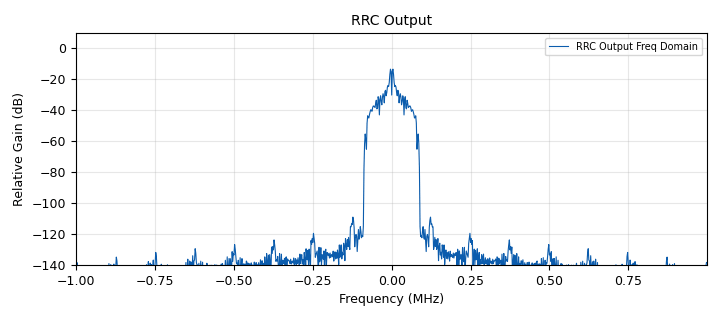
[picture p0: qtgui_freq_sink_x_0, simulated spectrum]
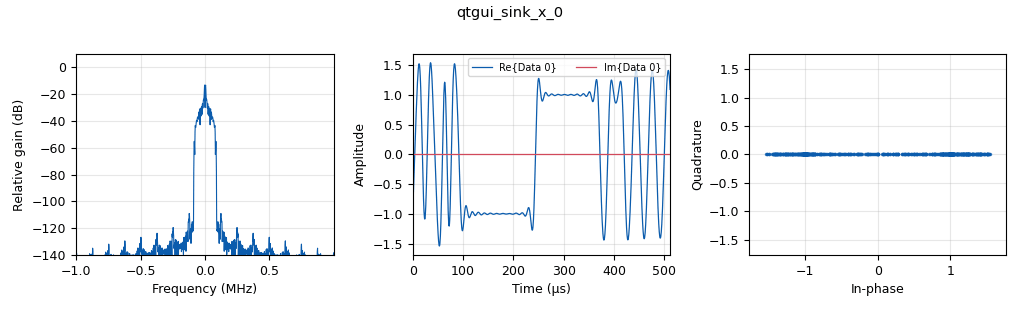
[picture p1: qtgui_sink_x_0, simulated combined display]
options:
  parameters:
    generate_options: qt_gui
    id: BPSK_TX
    output_language: python
    title: BPSK Transmit
  states: {}

blocks:
- name: bpsk_constellation
  id: variable_constellation
  parameters:
    precision: '8'
    type: bpsk
  states: {}
- name: freq
  id: variable
  parameters:
    value: 915e6
  states: {}
- name: samp_rate
  id: variable
  parameters:
    value: int(2e6)
  states: {}
- name: sps
  id: variable
  parameters:
    value: '16'
  states: {}
- name: tx_gain
  id: variable_qtgui_range
  parameters:
    gui_hint: 0,2
    label: tx gain
    min_len: '2'
    rangeType: int
    start: '0'
    step: '11'
    stop: '11'
    value: '0'
    widget: counter
  states: {}
- name: tx_lna
  id: variable_qtgui_range
  parameters:
    gui_hint: 0,1
    label: TX LNA
    min_len: '47'
    rangeType: int
    start: '0'
    step: '1'
    stop: '47'
    value: '32'
  states: {}
- name: analog_random_source_x_0
  id: analog_random_source_x
  parameters:
    max: '255'
    min: '0'
    num_samps: '30'
    repeat: 'True'
    type: byte
  states: {state: disabled}
- name: analog_sig_source_x_0
  id: analog_sig_source_x
  parameters:
    amp: '1'
    freq: '1000'
    offset: '0'
    phase: '0'
    samp_rate: samp_rate
    type: complex
    waveform: analog.GR_COS_WAVE
  states: {state: disabled}
- name: blocks_char_to_float_0
  id: blocks_char_to_float
  parameters:
    scale: '1'
  states: {state: disabled}
- name: blocks_message_strobe_0
  id: blocks_message_strobe
  parameters:
    msg: pmt.intern("TEST")
    period: '1000'
  states: {}
- name: digital_constellation_modulator_0
  id: digital_constellation_modulator
  parameters:
    constellation: bpsk_constellation
    differential: 'True'
    excess_bw: '0.35'
    samples_per_symbol: sps
  states: {}
- name: epy_block_2
  id: epy_block
  parameters:
    _source_code: |
      """
      Embedded Python Blocks:

      Each time this file is saved, GRC will instantiate the first class it finds
      to get ports and parameters of your block. The arguments to __init__  will
      be the parameters. All of them are required to have default values!
      """

      import numpy as np
      from gnuradio import gr
      import pmt


      class blk(gr.sync_block):  # other base classes are basic_block, decim_block, interp_block
          """Embedded Python Block example - a simple multiply const"""

          def __init__(self, preamble=[0xAA,0xAA], syncword=[0x56]):  # only default arguments here
              """arguments to this function show up as parameters in GRC"""
              gr.sync_block.__init__(
                  self,
                  name='Packet Formatter',   # will show up in GRC
                  in_sig= None,
                  out_sig= None
              )
              # if an attribute with the same name as a parameter is found,
              # a callback is registered (properties work, too).
              self.message_port_register_in(pmt.intern('PDU_in'))
              self.message_port_register_out(pmt.intern('PDU_out'))
              self.set_msg_handler(pmt.intern('PDU_in'),self.handle_msg)
              
              self.preamble = np.array(preamble,dtype=np.uint8)
              self.syncword = np.array(syncword,dtype=np.uint8)

          def handle_msg(self, msg):
              #Get msg
              payload = pmt.to_python(msg)
              
              #print(f"Payload: {payload}\n Payload type: {type(payload)}")
              
              payload = np.fromstring(payload[1], dtype=np.uint8)
              #print(f"Payload: {payload}")
              #Get Payload length
              payload_len = len(payload)
              #print(f"Payload Len: {payload_len}")
              payload_len = np.array([len(payload) >> 8, len(payload) & 0xFF], dtype=np.uint8)
              #print(f"Payload Len: {payload_len}")
              
              packet = np.concatenate([self.preamble, self.syncword, payload_len, payload_len, 	
              	payload])
              
              #print(f"Packet: {packet}")
              #Create PMT u8vector
              pmt_out = pmt.cons(pmt.PMT_NIL, pmt.init_u8vector(len(packet), packet))
              self.message_port_pub(pmt.intern('PDU_out'), pmt_out)
    preamble: '[0x55, 0x55, 0x55, 0x55, 0x55]'
    syncword: '[90,232]'
  states: {}
- name: osmosdr_sink_0
  id: osmosdr_sink
  parameters:
    args: '"hackrf=1"'
    bb_gain0: '0'
    freq0: freq
    gain0: tx_gain
    if_gain0: tx_lna
    sample_rate: samp_rate
    sync: sync
    type: fc32
  states: {}
- name: pdu_pdu_to_stream_x_0
  id: pdu_pdu_to_stream_x
  parameters:
    early_behavior: pdu.EARLY_BURST_APPEND
    type: byte
  states: {}
- name: qtgui_edit_box_msg_0
  id: qtgui_edit_box_msg
  parameters:
    key: Payload
    label: Payload
    type: string
    value: '"Hello World!Hello World!Hello World!"'
  states: {}
- name: qtgui_freq_sink_x_0
  id: qtgui_freq_sink_x
  parameters:
    bw: samp_rate
    fc: '0'
    fftsize: '1024'
    label1: '"RRC Output Freq Domain"'
    name: '"RRC Output"'
    type: complex
  states: {}
- name: qtgui_sink_x_0
  id: qtgui_sink_x
  parameters:
    bw: samp_rate
    fc: '0'
    fftsize: '1024'
    type: complex
  states: {}
- name: qtgui_waterfall_sink_x_0
  id: qtgui_waterfall_sink_x
  parameters:
    bw: samp_rate
    fc: '0'
    fftsize: '1024'
    type: float
  states: {state: disabled}
- name: virtual_sink_0
  id: virtual_sink
  parameters:
    stream_id: pdus
  states: {}
- name: virtual_source_0
  id: virtual_source
  parameters:
    stream_id: pdus
  states: {}

connections:
- [analog_random_source_x_0, '0', digital_constellation_modulator_0, '0']
- [analog_sig_source_x_0, '0', osmosdr_sink_0, '0']
- [analog_sig_source_x_0, '0', qtgui_sink_x_0, '0']
- [blocks_char_to_float_0, '0', qtgui_waterfall_sink_x_0, '0']
- [blocks_message_strobe_0, strobe, epy_block_2, PDU_in]
- [digital_constellation_modulator_0, '0', osmosdr_sink_0, '0']
- [digital_constellation_modulator_0, '0', qtgui_freq_sink_x_0, '0']
- [digital_constellation_modulator_0, '0', qtgui_sink_x_0, '0']
- [epy_block_2, PDU_out, virtual_sink_0, '0']
- [pdu_pdu_to_stream_x_0, '0', digital_constellation_modulator_0, '0']
- [qtgui_edit_box_msg_0, msg, blocks_message_strobe_0, set_msg]
- [virtual_source_0, '0', pdu_pdu_to_stream_x_0, pdus]

metadata:
  file_format: 1
  grc_version: 3.10.9.2
